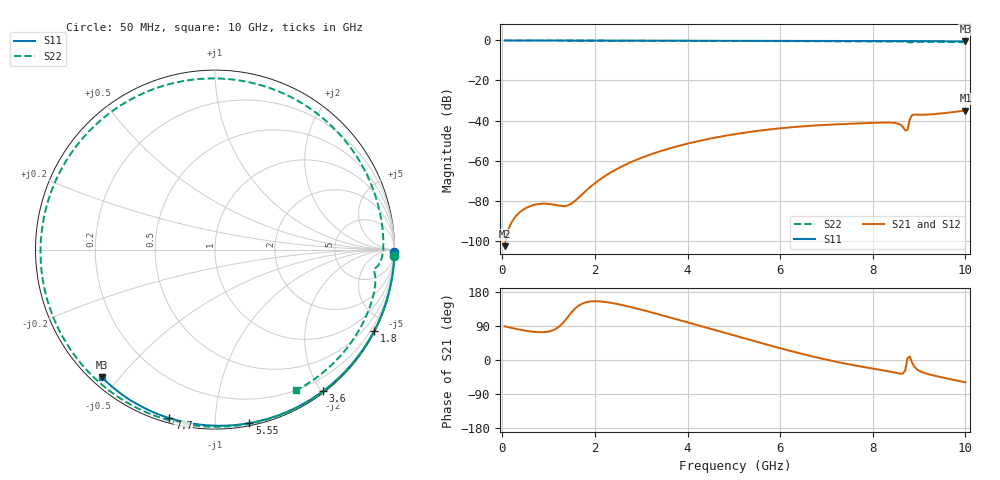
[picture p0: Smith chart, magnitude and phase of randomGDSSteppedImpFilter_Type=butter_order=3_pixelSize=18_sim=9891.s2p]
! freq	dB(S11)	phase(S11)	dB(S12)	phase(S12)
!  dB(S21)	phase(S21)	dB(S22)	phase(S22)
!S-par simulation data
#  GHz  S  DB  R 50
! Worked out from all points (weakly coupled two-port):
!   200 points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, 50 MHz to 10 GHz, reference 50 ohm
!   highest |S21| = -35.00 dB at 10 GHz (marker M1); lowest = -102.8 dB at 50 MHz (marker M2)
!   lowest |S11| = -0.4 dB at 10 GHz (marker M3), VSWR 39.22, Z = 1.53 - j22.5 ohm
!   |S11| at or under -10 dB: nowhere
!   |S22| runs from -1.0 to 0.0 dB; largest |S21 - S12| = 0
!   S11 on the Smith chart (normalised r, x): 50 MHz: open; 1.8 GHz: 0.04, -4.17; 3.6 GHz: 0.02, -2.02; 5.55 GHz: 0.02, -1.22; 7.7 GHz: 0.02, -0.76; 10 GHz: 0.03, -0.45
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0.05  -0.00 -0.8  -102.78 88.8  -102.78 88.8  -0.00 -2.0
0.75  -0.01 -11.3  -81.85 73.7  -81.85 73.7  -0.04 -30.0
1.55  -0.03 -23.3  -80.53 133.1  -80.53 133.1  -0.08 -61.2
1.75  -0.03 -26.2  -76.28 149.9  -76.28 149.9  -0.09 -68.9
1.8  -0.03 -27.0  -75.21 152.0  -75.21 152.0  -0.09 -70.8
2.5  -0.05 -37.2  -63.91 147.3  -63.91 147.3  -0.12 -96.8
3.4  -0.07 -49.9  -55.42 119.7  -55.42 119.7  -0.16 -129.5
3.6  -0.07 -52.7  -54.01 113.0  -54.01 113.0  -0.17 -136.8
4.35  -0.09 -63.0  -49.69 87.2  -49.69 87.2  -0.22 -164.2
5.05  -0.11 -72.3  -46.71 63.0  -46.71 63.0  -0.27 169.1
5.55  -0.13 -78.8  -45.06 46.0  -45.06 46.0  -0.31 148.9
6.7  -0.18 -93.2  -42.57 9.3  -42.57 9.3  -0.40 97.7
7.2  -0.21 -99.2  -41.93 -4.4  -41.93 -4.4  -0.44 73.5
7.7  -0.24 -105.2  -41.43 -16.2  -41.43 -16.2  -0.47 48.5
8.35  -0.29 -112.8  -41.01 -30.2  -41.01 -30.2  -0.52 15.7
8.6  -0.31 -115.7  -42.12 -36.1  -42.12 -36.1  -0.54 2.8
8.7  -0.32 -116.8  -44.96 -27.7  -44.96 -27.7  -0.62 -2.9
8.75  -0.33 -117.3  -44.73 4.6  -44.73 4.6  -0.79 -5.7
8.8  -0.32 -117.9  -39.29 9.4  -39.29 9.4  -1.00 -7.0
8.85  -0.32 -118.5  -37.29 -7.2  -37.29 -7.2  -0.95 -8.0
9.3  -0.37 -123.7  -36.84 -40.5  -36.84 -40.5  -0.73 -29.0
10  -0.44 -131.6  -35.00 -59.0  -35.00 -59.0  -0.87 -60.1
